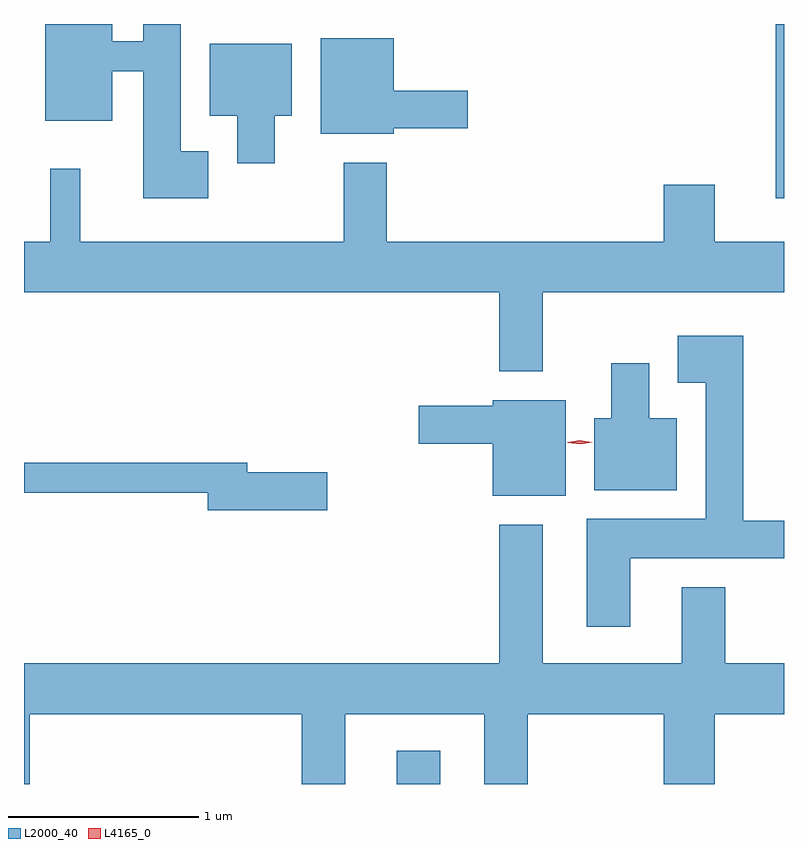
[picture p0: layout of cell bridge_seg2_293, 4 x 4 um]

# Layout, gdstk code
import gdstk
lib = gdstk.Library(unit=1e-6, precision=1e-09)
def R(c, l, rs):  # rectangles x0, y0, x1, y1
    for r in rs: c.add(gdstk.rectangle(r[:2], r[2:], *l))
def P(c, l, *ps):  # polygons
    for p in ps: c.add(gdstk.Polygon(p, *l))
L2000_40 = (2000, 40)
L4165_0 = (4165, 0)

bridge_seg2_293 = lib.new_cell('bridge_seg2_293')
R(bridge_seg2_293, L2000_40, [(453.431,1065.709,453.659,1065.884), (455.426,1068.791,455.469,1069.709)])
P(bridge_seg2_293, L2000_40, [(452.439,1069.039),(452.294,1069.039),(452.294,1069.709),(452.096,1069.709),(452.096,1069.619),(451.934,1069.619),(451.934,1069.709),(451.581,1069.709),(451.581,1069.201),(451.934,1069.201),(451.934,1069.461),(452.096,1069.461),(452.096,1068.791),(452.439,1068.791)],
  [(453.414,1069.161),(453.804,1069.161),(453.804,1069.359),(453.414,1069.359),(453.414,1069.634),(453.031,1069.634),(453.031,1069.131),(453.414,1069.131)],
  [(452.789,1069.226),(452.879,1069.226),(452.879,1069.604),(452.446,1069.604),(452.446,1069.226),(452.591,1069.226),(452.591,1068.976),(452.789,1068.976)],
  [(454.836,1068.864),(454.836,1068.564),(453.379,1068.564),(453.379,1068.979),(453.151,1068.979),(453.151,1068.564),(451.764,1068.564),(451.764,1068.948),(451.606,1068.948),(451.606,1068.564),(451.469,1068.564),(451.469,1068.296),(453.971,1068.296),(453.971,1067.881),(454.199,1067.881),(454.199,1068.296),(455.469,1068.296),(455.469,1068.564),(455.104,1068.564),(455.104,1068.864)],
  [(454.659,1066.896),(455.469,1066.896),(455.469,1067.094),(455.254,1067.094),(455.254,1068.069),(454.911,1068.069),(454.911,1067.821),(455.056,1067.821),(455.056,1067.104),(454.431,1067.104),(454.431,1066.536),(454.659,1066.536)],
  [(454.904,1067.634),(454.759,1067.634),(454.759,1067.924),(454.561,1067.924),(454.561,1067.634),(454.471,1067.634),(454.471,1067.256),(454.904,1067.256)],
  [(454.319,1067.729),(453.936,1067.729),(453.936,1067.699),(453.546,1067.699),(453.546,1067.501),(453.936,1067.501),(453.936,1067.226),(454.319,1067.226)],
  [(453.064,1067.349),(452.644,1067.349),(452.644,1067.399),(451.469,1067.399),(451.469,1067.241),(452.436,1067.241),(452.436,1067.151),(453.064,1067.151)],
  [(451.499,1066.076),(452.931,1066.076),(452.931,1065.709),(453.159,1065.709),(453.159,1066.076),(453.891,1066.076),(453.891,1065.709),(454.119,1065.709),(454.119,1066.076),(454.836,1066.076),(454.836,1065.709),(455.104,1065.709),(455.104,1066.076),(455.469,1066.076),(455.469,1066.344),(455.159,1066.344),(455.159,1066.744),(454.931,1066.744),(454.931,1066.344),(454.199,1066.344),(454.199,1067.074),(453.971,1067.074),(453.971,1066.344),(451.469,1066.344),(451.469,1065.709),(451.499,1065.709)])
P(bridge_seg2_293, L4165_0, [(454.396,1067.497),(454.33,1067.506),(454.329,1067.507),(454.33,1067.507),(454.395,1067.517),(454.461,1067.508),(454.461,1067.507),(454.461,1067.507)])

lib.write_gds('bridge_seg2_293.gds')
